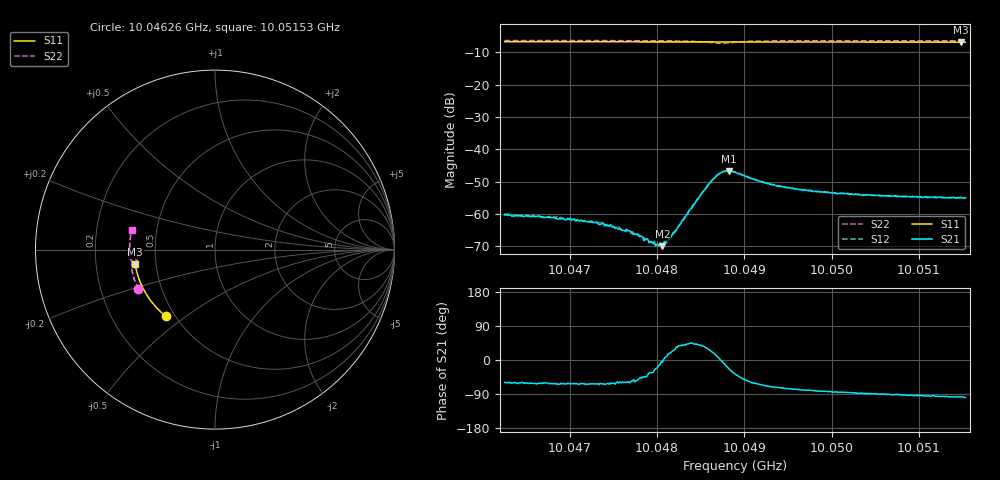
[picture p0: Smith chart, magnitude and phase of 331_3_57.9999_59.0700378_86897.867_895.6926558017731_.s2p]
#  HZ  S  RI  R  50.00
! Rohde & Schwarz Vector Network Analyzer
! Rohde-Schwarz,ZNB20-2Port,1311601062101988,3.16
! Created: UTC 3/21/2024, 1:05:07 AM
! freq[Hz]  re:S11  im:S11  re:S21  im:S21  re:S12  im:S12  re:S22  im:S22
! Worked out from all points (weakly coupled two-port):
!   401 points, 10.04626 GHz to 10.05153 GHz, reference 50 ohm
!   highest |S21| = -46.65 dB at 10.04883 GHz (marker M1); lowest = -69.9 dB at 10.04806 GHz (marker M2)
!   lowest |S11| = -6.9 dB at 10.05148 GHz (marker M3), VSWR 2.65, Z = 19 - j4 ohm
!   |S11| at or under -10 dB: nowhere
!   |S22| runs from -7.2 to -6.4 dB; largest |S21 - S12| = 0.00033
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1.0046256e10  -0.2725 -0.3724  0.000501 -0.000828  0.000588 -0.000846  -0.4266 -0.222
1.0046625e10  -0.2913 -0.3568  0.000416 -0.000824  0.000506 -0.000798  -0.4368 -0.1995
1.004714e10  -0.3161 -0.3335  0.000368 -0.000701  0.000404 -0.000692  -0.4491 -0.1668
1.0047364e10  -0.3264 -0.3229  0.000322 -0.000621  0.000357 -0.000617  -0.4538 -0.1521
1.0047681e10  -0.3403 -0.3071  0.000288 -0.000477  0.000328 -0.000424  -0.4593 -0.1304
1.0047786e10  -0.3447 -0.3019  0.000296 -0.000371  0.000318 -0.000372  -0.461 -0.1229
1.0047918e10  -0.3502 -0.2951  0.000303 -0.000198  0.000331 -0.000185  -0.4626 -0.1129
1.0047997e10  -0.3533 -0.2909  0.000312 -0.000127  0.000317 -0.000106  -0.4633 -0.107
1.0048024e10  -0.3545 -0.2894  0.000323 -7.91e-05  0.000315 -6.04e-05  -0.4634 -0.1048
1.0048063e10  -0.3561 -0.2875  0.000318 -3.41e-05  0.000375 -1.33e-05  -0.4638 -0.1017
1.0048103e10  -0.3576 -0.2852  0.00038 5.83e-05  0.000346 9.11e-05  -0.4639 -0.0987
1.0048182e10  -0.3608 -0.2812  0.000457 0.000206  0.000419 0.000212  -0.4642 -0.0919
1.0048433e10  -0.3702 -0.2676  0.00108 0.000985  0.00102 0.00105  -0.4593 -0.0693
1.0048617e10  -0.3767 -0.2575  0.00288 0.00127  0.0028 0.00148  -0.4431 -0.0571
1.0048723e10  -0.3802 -0.2517  0.00429 0.000103  0.00431 0.000368  -0.4321 -0.0636
1.0048828e10  -0.3838 -0.2459  0.00424 -0.00189  0.00437 -0.00162  -0.436 -0.0758
1.0048894e10  -0.3861 -0.2424  0.00355 -0.00265  0.00374 -0.00245  -0.4442 -0.0782
1.004929e10  -0.399 -0.2196  0.00102 -0.00273  0.00119 -0.00268  -0.4704 -0.0497
1.0049778e10  -0.4129 -0.1905  0.000369 -0.00223  0.000491 -0.00222  -0.4759 -0.012
1.0050662e10  -0.4325 -0.136  -1.96e-05 -0.00189  8.56e-05 -0.00193  -0.4739 0.0493
1.005148e10  -0.4441 -0.0837  -0.000222 -0.00181  -0.000144 -0.0018  -0.4648 0.103
1.0051533e10  -0.4449 -0.0803  -0.000274 -0.00175  -0.000178 -0.00176  -0.4638 0.1065
